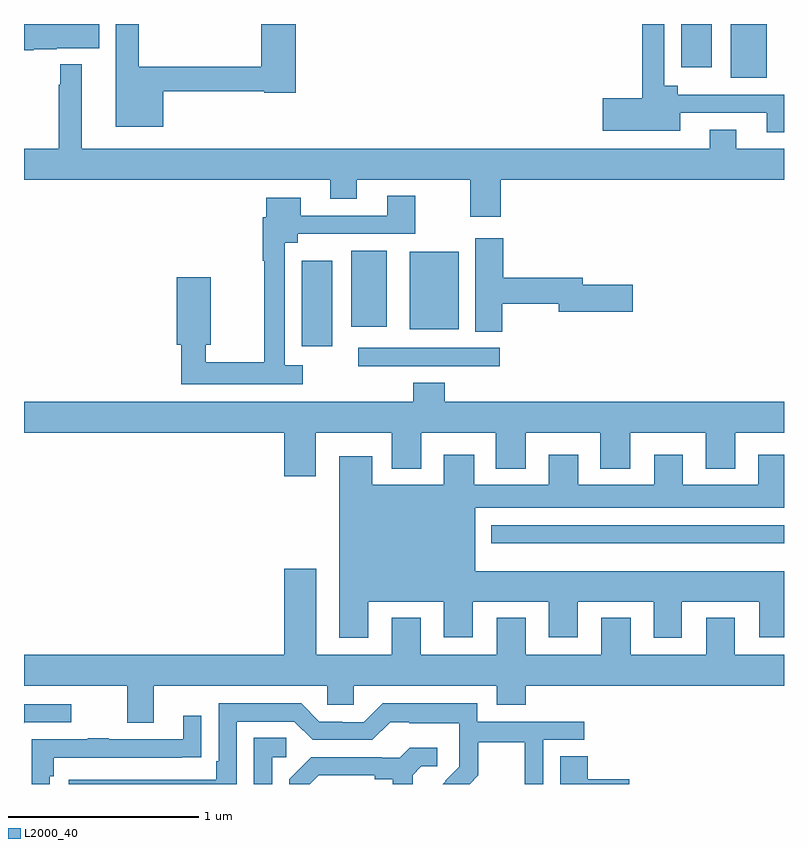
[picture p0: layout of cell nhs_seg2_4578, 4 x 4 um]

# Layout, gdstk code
import gdstk
lib = gdstk.Library(unit=1e-6, precision=1e-09)
def R(c, l, rs):  # rectangles x0, y0, x1, y1
    for r in rs: c.add(gdstk.rectangle(r[:2], r[2:], *l))
def P(c, l, *ps):  # polygons
    for p in ps: c.add(gdstk.Polygon(p, *l))
L2000_40 = (2000, 40)

nhs_seg2_4578 = lib.new_cell('nhs_seg2_4578')
R(nhs_seg2_4578, L2000_40, [(361.46,635.066,363,635.163), (360.759,636,361.504,636.096), (360.461,636.105,360.622,636.553), (361.031,636.194,361.288,636.601), (360.722,636.206,360.91,636.607), (362.72,637.517,362.908,637.8), (362.459,637.572,362.62,637.8)])
P(nhs_seg2_4578, L2000_40, [(359.734,637.446),(360.264,637.446),(360.264,637.438),(360.431,637.438),(360.431,637.798),(360.248,637.798),(360.248,637.574),(359.605,637.574),(359.605,637.8),(359.483,637.8),(359.483,637.259),(359.734,637.259)],
  [(359.05,637.667),(359.172,637.667),(359.172,637.673),(359.395,637.673),(359.395,637.8),(359,637.8),(359,637.661),(359.05,637.661)],
  [(363,637.428),(362.44,637.428),(362.44,637.474),(362.37,637.474),(362.37,637.8),(362.254,637.8),(362.254,637.409),(362.046,637.409),(362.046,637.238),(362.455,637.238),(362.455,637.332),(362.909,637.332),(362.909,637.23),(363,637.23)],
  [(361.508,636.98),(363,636.98),(363,637.144),(362.749,637.144),(362.749,637.243),(362.609,637.243),(362.609,637.144),(359.305,637.144),(359.305,637.588),(359.191,637.588),(359.191,637.481),(359.184,637.481),(359.184,637.144),(359,637.144),(359,636.98),(360.611,636.98),(360.611,636.881),(360.751,636.881),(360.751,636.98),(361.348,636.98),(361.348,636.786),(361.508,636.786)],
  [(360.466,636.004),(360.372,636.004),(360.372,636.65),(360.442,636.65),(360.442,636.696),(361.059,636.696),(361.059,636.895),(360.911,636.895),(360.911,636.792),(360.457,636.792),(360.457,636.886),(360.275,636.886),(360.275,636.782),(360.256,636.782),(360.256,636.554),(360.264,636.554),(360.264,636.02),(359.956,636.02),(359.956,636.113),(359.982,636.113),(359.982,636.466),(359.804,636.466),(359.804,636.113),(359.827,636.113),(359.827,635.904),(360.466,635.904)],
  [(361.518,636.328),(361.814,636.328),(361.814,636.286),(362.203,636.286),(362.203,636.428),(361.942,636.428),(361.942,636.464),(361.523,636.464),(361.523,636.673),(361.376,636.673),(361.376,636.181),(361.518,636.181)],
  [(360.535,635.648),(360.935,635.648),(360.935,635.459),(361.09,635.459),(361.09,635.648),(361.484,635.648),(361.484,635.459),(361.642,635.459),(361.642,635.648),(362.033,635.648),(362.033,635.459),(362.191,635.459),(362.191,635.648),(362.588,635.648),(362.588,635.459),(362.743,635.459),(362.743,635.648),(363,635.648),(363,635.812),(361.214,635.812),(361.214,635.911),(361.049,635.911),(361.049,635.812),(359,635.812),(359,635.648),(360.371,635.648),(360.371,635.421),(360.535,635.421)],
  [(360.811,634.76),(361.208,634.76),(361.208,634.572),(361.363,634.572),(361.363,634.76),(361.763,634.76),(361.763,634.572),(361.915,634.572),(361.915,634.76),(362.315,634.76),(362.315,634.569),(362.461,634.569),(362.461,634.76),(362.87,634.76),(362.87,634.572),(363,634.572),(363,634.921),(361.375,634.921),(361.375,635.255),(363,635.255),(363,635.533),(362.864,635.533),(362.864,635.374),(362.467,635.374),(362.467,635.533),(362.318,635.533),(362.318,635.374),(361.918,635.374),(361.918,635.533),(361.763,635.533),(361.763,635.374),(361.369,635.374),(361.369,635.533),(361.208,635.533),(361.208,635.374),(360.832,635.374),(360.832,635.524),(360.659,635.524),(360.659,634.569),(360.811,634.569)],
  [(359.683,634.316),(360.597,634.316),(360.597,634.218),(360.735,634.218),(360.735,634.316),(361.487,634.316),(361.487,634.217),(361.64,634.217),(361.64,634.316),(363,634.316),(363,634.48),(362.74,634.48),(362.74,634.675),(362.591,634.675),(362.591,634.48),(362.194,634.48),(362.194,634.675),(362.039,634.675),(362.039,634.48),(361.642,634.48),(361.642,634.675),(361.487,634.675),(361.487,634.48),(361.087,634.48),(361.087,634.675),(360.935,634.675),(360.935,634.48),(360.538,634.48),(360.538,634.933),(360.371,634.933),(360.371,634.48),(359,634.48),(359,634.316),(359.543,634.316),(359.543,634.122),(359.683,634.122)],
  [(360.12,634.128),(360.423,634.128),(360.519,634.032),(360.834,634.032),(360.927,634.125),(361.027,634.125),(361.027,634.121),(361.29,634.121),(361.29,633.987),(361.292,633.987),(361.292,633.89),(361.218,633.816),(361.219,633.815),(361.204,633.8),(361.346,633.8),(361.391,633.845),(361.391,634.02),(361.636,634.02),(361.636,633.8),(361.734,633.8),(361.734,634.032),(361.948,634.032),(361.948,634.128),(361.386,634.128),(361.386,634.225),(360.889,634.225),(360.789,634.125),(360.674,634.125),(360.674,634.128),(360.555,634.128),(360.459,634.224),(360.024,634.224),(360.024,633.919),(360.011,633.919),(360.011,633.822),(359.235,633.822),(359.235,633.8),(360.12,633.8)],
  [(359.004,634.125),(359.248,634.125),(359.248,634.221),(359,634.221),(359,634.121)],
  [(359.136,633.842),(359.156,633.842),(359.156,633.939),(359.831,633.939),(359.831,633.94),(359.933,633.94),(359.933,634.159),(359.837,634.159),(359.837,634.035),(359.447,634.035),(359.447,634.04),(359.335,634.04),(359.335,634.035),(359.04,634.035),(359.04,633.8),(359.136,633.8)],
  [(360.306,633.942),(360.379,633.942),(360.379,634.043),(360.21,634.043),(360.21,633.8),(360.306,633.8)],
  [(360.55,633.846),(360.845,633.846),(360.845,633.824),(360.941,633.824),(360.941,633.8),(361.045,633.8),(361.045,633.847),(361.092,633.894),(361.174,633.894),(361.174,633.991),(361.03,633.991),(360.978,633.939),(360.884,633.939),(360.884,633.942),(360.512,633.942),(360.396,633.826),(360.396,633.8),(360.504,633.8)],
  [(362.185,633.824),(361.967,633.824),(361.967,633.947),(361.823,633.947),(361.823,633.8),(362.185,633.8)])

lib.write_gds('nhs_seg2_4578.gds')
